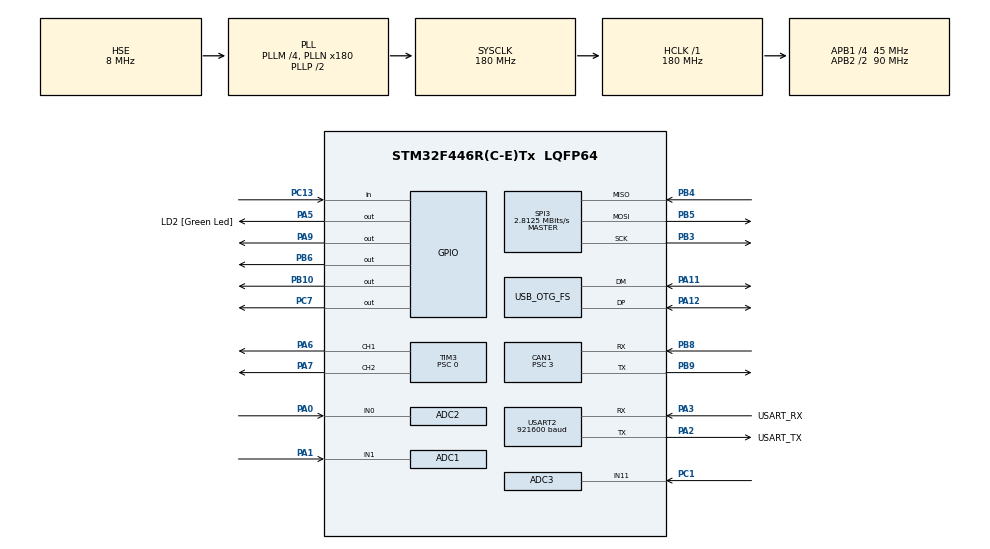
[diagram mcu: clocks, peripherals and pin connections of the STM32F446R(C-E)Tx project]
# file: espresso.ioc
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Mcu.Family=STM32F4
USB_DEVICE.CLASS_NAME_FS=CDC
PH0-OSC_IN.Signal=RCC_OSC_IN
RCC.CortexFreq_Value=180000000
SPI3.Direction=SPI_DIRECTION_2LINES
SPI3.VirtualType=VM_MASTER
ADC2.Channel-0\#ChannelRegularConversion=ADC_CHANNEL_0
USB_DEVICE.PID_CDC_FS=0xC1B0
PA14.GPIO_Label=TCK
PA11.Mode=Device_Only
USB_DEVICE.VirtualMode-CDC_FS=Cdc
RCC.DATA_CACHE_ENABLE=1
ADC3.Channel-0\#ChannelRegularConversion=ADC_CHANNEL_11
RCC.SYSCLKSource=RCC_SYSCLKSOURCE_PLLCLK
ProjectManager.StackSize=0x400
PA12.Signal=USB_OTG_FS_DP
ADC1.Mode=ADC_TRIPLEMODE_REGSIMULT
RCC.HCLKFreq_Value=180000000
RCC.APB2TimFreq_Value=180000000
PB6.Signal=GPIO_Output
PC7.Signal=GPIO_Output
RCC.AHBFreq_Value=180000000
RCC.PREFETCH_ENABLE=1
PH0-OSC_IN.Mode=HSE-External-Clock-Source
TIM3.Channel-PWM\ Generation1\ CH1=TIM_CHANNEL_1
ADC1.Channel-0\#ChannelRegularConversion=ADC_CHANNEL_1
RCC.HSE_VALUE=8000000
PB3.Mode=Full_Duplex_Master
PB4.Mode=Full_Duplex_Master
PC14-OSC32_IN.Mode=LSE-External-Clock-Source
PA14.Mode=Serial_Wire
USB_DEVICE.MANUFACTURER_STRING-CDC_FS=bkatz
TIM3.Prescaler=0
PB5.Mode=Full_Duplex_Master
SH.ADCx_IN0.0=ADC2_IN0,IN0
SH.S_TIM3_CH1.0=TIM3_CH1,PWM Generation1 CH1
ADC1.SamplingTime-0\#ChannelRegularConversion=ADC_SAMPLETIME_15CYCLES
RCC.FLatency-AdvancedSettings=FLASH_LATENCY_5
PH1-OSC_OUT.Mode=HSE-External-Clock-Source
CAN1.Prescaler=3
Mcu.Package=LQFP64
PB9.Signal=CAN1_TX
PA6.Signal=S_TIM3_CH1
SPI3.Mode=SPI_MODE_MASTER
USART2.VirtualMode=VM_ASYNC
NVIC.OTG_FS_IRQn=true\:0\:0\:false\:false\:true\:false\:true
PA2.GPIO_Label=USART_TX
ADC3.Rank-0\#ChannelRegularConversion=1
USB_OTG_FS.VirtualMode=Device_Only
ADC2.SamplingTime-0\#ChannelRegularConversion=ADC_SAMPLETIME_15CYCLES
ADC3.ClockPrescaler=ADC_CLOCK_SYNC_PCLK_DIV4
RCC.PLLSAIN=96
RCC.PLLSAIM=4
RCC.PLLSAIP=RCC_PLLSAIP_DIV4
RCC.APB2CLKDivider=RCC_HCLK_DIV2
SH.ADCx_IN1.0=ADC1_IN1,IN1
ADC2.NbrOfConversion=1
RCC.APB1TimFreq_Value=90000000
ADC2.Rank-0\#ChannelRegularConversion=1
CAN1.CalculateTimeBit=999.99
PB4.Signal=SPI3_MISO
PA3.Signal=USART2_RX
CAN1.CalculateTimeQuantum=66.66666666666666
ADC2.ClockPrescaler=ADC_CLOCK_SYNC_PCLK_DIV4
PC15-OSC32_OUT.Mode=LSE-External-Clock-Source
ADC2.Mode=ADC_TRIPLEMODE_REGSIMULT
ADC1.Rank-0\#ChannelRegularConversion=1
TIM3.AutoReloadPreload=TIM_AUTORELOAD_PRELOAD_ENABLE
USB_DEVICE.VirtualModeFS=Cdc_FS
PC13.Signal=GPIO_Input
CAN1.CalculateBaudRate=1000000
RCC.APB1CLKDivider=RCC_HCLK_DIV4
PC14-OSC32_IN.Signal=RCC_OSC32_IN
USART2.BaudRate=921600
PA0-WKUP.Signal=ADCx_IN0
PA13.Signal=SYS_JTMS-SWDIO
PA3.Mode=Asynchronous
ADC3.SamplingTime-0\#ChannelRegularConversion=ADC_SAMPLETIME_15CYCLES
CAN1.BS2=CAN_BS2_2TQ
CAN1.BS1=CAN_BS1_12TQ
ProjectManager.TargetToolchain=STM32CubeIDE
USB_DEVICE.PRODUCT_STRING_CDC_FS=CL-ESPRESSO
VP_USB_DEVICE_VS_USB_DEVICE_CDC_FS.Mode=CDC_FS
PB9.Mode=CAN_Activate
PA9.Signal=GPIO_Output
RCC.USBFreq_Value=48000000
ADC3.NbrOfConversion=1
PC15-OSC32_OUT.Signal=RCC_OSC32_OUT
PA1.Signal=ADCx_IN1
PB10.Signal=GPIO_Output
RCC.USBCLockSelection=RCC_CLK48CLKSOURCE_PLLSAIP
PA5.Signal=GPIO_Output
SH.S_TIM3_CH2.0=TIM3_CH2,PWM Generation2 CH2
board=NUCLEO-F446RE
SPI3.CLKPhase=SPI_PHASE_2EDGE
RCC.VCOOutputFreq_Value=360000000
NVIC.TIM3_IRQn=true\:0\:0\:false\:false\:true\:true\:true
RCC.APB2Freq_Value=90000000
SPI3.CalculateBaudRate=2.8125 MBits/s
SH.ADCx_IN11.0=ADC3_IN11,IN11
SPI3.BaudRatePrescaler=SPI_BAUDRATEPRESCALER_16
PH1-OSC_OUT.Signal=RCC_OSC_OUT
ADC1.NbrOfConversion=1
PA13.Mode=Serial_Wire
Mcu.Name=STM32F446R(C-E)Tx
PA2.Signal=USART2_TX
PA13.GPIO_Label=TMS
RCC.48MHZClocksFreq_Value=84000000
PB3.Signal=SPI3_SCK
RCC.SYSCLKFreq_VALUE=180000000
PB5.Signal=SPI3_MOSI
ADC1.master=1
PA12.Mode=Device_Only
PA5.GPIO_Label=LD2 [Green Led]
ADC2.NbrOfConversionFlag=1
PA11.Signal=USB_OTG_FS_DM
PA14.Signal=SYS_JTCK-SWCLK
ProjectManager.HeapSize=0x200
RCC.HSI_VALUE=16000000
NVIC.PriorityGroup=NVIC_PRIORITYGROUP_0
ADC1.NbrOfConversionFlag=1
TIM3.Channel-PWM\ Generation2\ CH2=TIM_CHANNEL_2
RCC.PLLM=4
PB8.Mode=CAN_Activate
RCC.PLLN=180
PA2.Mode=Asynchronous
PB8.Signal=CAN1_RX
RCC.APB1Freq_Value=45000000
ADC3.NbrOfConversionFlag=1
ADC1.ClockPrescaler=ADC_CLOCK_SYNC_PCLK_DIV4
PC1.Signal=ADCx_IN11
PA3.GPIO_Label=USART_RX
PA7.Signal=S_TIM3_CH2

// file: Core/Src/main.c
/* USER CODE BEGIN Header */
/**
  ******************************************************************************
  * @file           : main.c
  * @brief          : Main program body
  ******************************************************************************
  * @attention
  *
  * <h2><center>&copy; Copyright (c) 2021 STMicroelectronics.
  * All rights reserved.</center></h2>
  *
  * This software component is licensed by ST under BSD 3-Clause license,
  * the "License"; You may not use this file except in compliance with the
  * License. You may obtain a copy of the License at:
  *                        opensource.org/licenses/BSD-3-Clause
  *
  ******************************************************************************
  */
/* USER CODE END Header */
#include "main.h"
#include "adc.h"
#include "can.h"
#include "spi.h"
#include "tim.h"
#include "usart.h"
#include "usb_device.h"
#include "gpio.h"

/* USER CODE BEGIN Includes */
#include <stdio.h>
#include <string.h>

#include "hw_config.h"
#include "math_ops.h"
#include "espresso.h"
#include "structs.h"
#include "usb_comm.h"
/* USER CODE END Includes */

/* USER CODE BEGIN PV */

PFTCStruct pftc;

CANTxMessage can_tx;
CANRxMessage can_rx;
USBDataStruct usb_data;

/* USER CODE END PV */

void SystemClock_Config(void);

int main(void)
{

  /* MCU Configuration--------------------------------------------------------*/

  /* Reset of all peripherals, Initializes the Flash interface and the Systick. */
  HAL_Init();

  /* Configure the system clock */
  SystemClock_Config();

  /* Initialize all configured peripherals */
  MX_GPIO_Init();
  MX_USART2_UART_Init();
  MX_SPI3_Init();
  MX_TIM3_Init();
  MX_ADC1_Init();
  MX_ADC2_Init();
  MX_ADC3_Init();
  MX_CAN1_Init();
  MX_USB_DEVICE_Init();
  /* USER CODE BEGIN 2 */

  /* Turn on ADCs */
  HAL_ADC_Start(&hadc1);
  HAL_ADC_Start(&hadc2);
  HAL_ADC_Start(&hadc3);

  /* Zero Sensors */
  zero_sensors(&pftc);

  /* CAN setup */
  can_rx_init(&can_rx);
  can_tx_init(&can_tx);
  HAL_CAN_Start(&CAN_H); //start CAN
  //__HAL_CAN_ENABLE_IT(&CAN_H, CAN_IT_RX_FIFO0_MSG_PENDING);

  /* Turn on PWM */
  HAL_TIM_PWM_Start(&htim3, TIM_CHANNEL_1);
  HAL_TIM_PWM_Start(&htim3, TIM_CHANNEL_2);

  /* Enable the pump over CAN */
  HAL_Delay(1000);
  pump_enable();
  HAL_Delay(100);
  /* Start main interrupt */
  HAL_TIM_Base_Start_IT(&htim3);
  /* USER CODE END 2 */

  /* Infinite loop */
  /* USER CODE BEGIN WHILE */
  int count = 0;
  int delay = 300;
  float off2 = 6.0f*PA_PER_BAR;
  float off = .00f;
  float amp = .5f*PA_PER_BAR;
  int timer = 0;

  //printf("%f  %f  %f\r\n", A_LEAD, B_LEAD, C_LEAD);

  while (1)
  {
	  HAL_Delay(10);
	  printf("%.2f  %.2f  %.2f  %d\r\n", pftc.pump_cmd, pftc.t_water_des, pftc.t_group_des, pftc.flow_dir);
	  //pack_cmd(&can_tx, 1.0f, 2.0f, 3.0f, 4.0f, 5.0f);	// Pack commands
	  //HAL_CAN_AddTxMessage(&CAN_H, &can_tx.tx_header, can_tx.data, &TxMailbox);	// Send response
	  //HAL_CAN_GetRxMessage(&CAN_H, CAN_RX_FIFO0, &can_rx.rx_header, can_rx.data);	// Read CAN
	  //unpack_reply(can_rx, &motor_state);	// Unpack commands
	  //for(int i = 0; i<3; i++){printf("%f  ", motor_state[i]);}
	  //printf("%.2f  %.2f  %.2f  %.2f  %.2f %.2f", pftc.t_water, pftc.t_heater, pftc.t_group, pftc.pressure*PSI_PER_PA, pftc.vel_pump, pftc.torque_pump);
	  //printf("%.2f\r\n", pftc.pressure_des);
	  //pftc.torque_des_pump = off2;
/*
	  pftc.pressure_des = off2;
	  int sw = !HAL_GPIO_ReadPin(GPIOC, GPIO_PIN_13);
	  if(sw || count != 0){
		  HAL_GPIO_WritePin(GPIOA, GPIO_PIN_9, GPIO_PIN_SET );
		  count++;
		  if(count > delay){
			  float t = (float)timer*.002f;
			  float cmd = (float)sw*(off + amp*sinf(.5f*2.0f*PI_F*t*t)) + off2;
			  //float cmd = (float)sw*6.0f*PA_PER_BAR;
			  //pftc.torque_des_pump = cmd;
			  //pftc.k_vel_pump = .01f;
			  pftc.pressure_des = cmd;
			  count = delay;
			  timer ++;
		  }
		  if(!sw){
			  count -= 2;
		  }

		  //printf("%.2f %.4f %.4f %.2f\r\n", pftc.pressure, pftc.pressure_des, pftc.torque_pump, pftc.vel_pump);
		  pftc.flag = 1;
		  HAL_GPIO_WritePin(GPIOA, GPIO_PIN_9, GPIO_PIN_RESET );
	  }
	  else{pftc.flag = 0;}
*/

    /* USER CODE END WHILE */

  }
}

void SystemClock_Config(void)
{
  RCC_OscInitTypeDef RCC_OscInitStruct = {0};
  RCC_ClkInitTypeDef RCC_ClkInitStruct = {0};
  RCC_PeriphCLKInitTypeDef PeriphClkInitStruct = {0};

  /** Configure the main internal regulator output voltage
  */
  __HAL_RCC_PWR_CLK_ENABLE();
  __HAL_PWR_VOLTAGESCALING_CONFIG(PWR_REGULATOR_VOLTAGE_SCALE1);
  /** Initializes the RCC Oscillators according to the specified parameters
  * in the RCC_OscInitTypeDef structure.
  */
  RCC_OscInitStruct.OscillatorType = RCC_OSCILLATORTYPE_HSE;
  RCC_OscInitStruct.HSEState = RCC_HSE_BYPASS;
  RCC_OscInitStruct.PLL.PLLState = RCC_PLL_ON;
  RCC_OscInitStruct.PLL.PLLSource = RCC_PLLSOURCE_HSE;
  RCC_OscInitStruct.PLL.PLLM = 4;
  RCC_OscInitStruct.PLL.PLLN = 180;
  RCC_OscInitStruct.PLL.PLLP = RCC_PLLP_DIV2;
  RCC_OscInitStruct.PLL.PLLQ = 2;
  RCC_OscInitStruct.PLL.PLLR = 2;
  if (HAL_RCC_OscConfig(&RCC_OscInitStruct) != HAL_OK)
  {
    Error_Handler();
  }
  /** Activate the Over-Drive mode
  */
  if (HAL_PWREx_EnableOverDrive() != HAL_OK)
  {
    Error_Handler();
  }
  /** Initializes the CPU, AHB and APB buses clocks
  */
  RCC_ClkInitStruct.ClockType = RCC_CLOCKTYPE_HCLK|RCC_CLOCKTYPE_SYSCLK
                              |RCC_CLOCKTYPE_PCLK1|RCC_CLOCKTYPE_PCLK2;
  RCC_ClkInitStruct.SYSCLKSource = RCC_SYSCLKSOURCE_PLLCLK;
  RCC_ClkInitStruct.AHBCLKDivider = RCC_SYSCLK_DIV1;
  RCC_ClkInitStruct.APB1CLKDivider = RCC_HCLK_DIV4;
  RCC_ClkInitStruct.APB2CLKDivider = RCC_HCLK_DIV2;

  if (HAL_RCC_ClockConfig(&RCC_ClkInitStruct, FLASH_LATENCY_5) != HAL_OK)
  {
    Error_Handler();
  }
  PeriphClkInitStruct.PeriphClockSelection = RCC_PERIPHCLK_CLK48;
  PeriphClkInitStruct.PLLSAI.PLLSAIM = 4;
  PeriphClkInitStruct.PLLSAI.PLLSAIN = 96;
  PeriphClkInitStruct.PLLSAI.PLLSAIQ = 2;
  PeriphClkInitStruct.PLLSAI.PLLSAIP = RCC_PLLSAIP_DIV4;
  PeriphClkInitStruct.PLLSAIDivQ = 1;
  PeriphClkInitStruct.Clk48ClockSelection = RCC_CLK48CLKSOURCE_PLLSAIP;
  if (HAL_RCCEx_PeriphCLKConfig(&PeriphClkInitStruct) != HAL_OK)
  {
    Error_Handler();
  }
}

void Error_Handler(void)
{
  __disable_irq();
  while (1)
  {
  }
}

/************************ (C) COPYRIGHT STMicroelectronics *****END OF FILE****/
